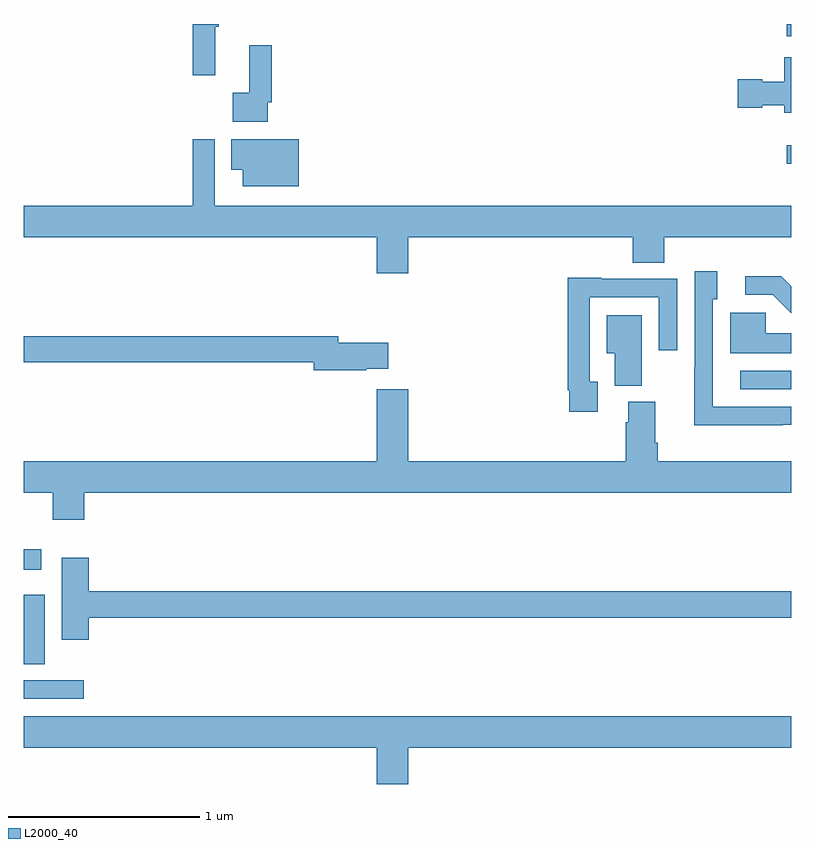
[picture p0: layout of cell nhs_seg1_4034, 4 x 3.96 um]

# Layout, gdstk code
import gdstk
lib = gdstk.Library(unit=1e-6, precision=1e-09)
def R(c, l, rs):  # rectangles x0, y0, x1, y1
    for r in rs: c.add(gdstk.rectangle(r[:2], r[2:], *l))
def P(c, l, *ps):  # polygons
    for p in ps: c.add(gdstk.Polygon(p, *l))
L2000_40 = (2000, 40)

nhs_seg1_4034 = lib.new_cell('nhs_seg1_4034')
R(nhs_seg1_4034, L2000_40, [(331,526.68,331.312,526.776), (331,526.861,331.108,527.224), (331,527.352,331.09,527.461), (334.734,528.294,335,528.39), (334.977,529.47,335,529.567), (334.977,530.136,335,530.199)])
P(nhs_seg1_4034, L2000_40, [(331.997,530.184),(332.015,530.184),(332.015,530.199),(331.879,530.199),(331.879,529.932),(331.997,529.932)],
  [(332.271,529.792),(332.291,529.792),(332.291,530.089),(332.174,530.089),(332.174,529.841),(332.088,529.841),(332.088,529.688),(332.271,529.688)],
  [(335,530.026),(334.964,530.026),(334.964,529.897),(334.851,529.897),(334.851,529.91),(334.722,529.91),(334.722,529.763),(334.851,529.763),(334.851,529.775),(334.964,529.775),(334.964,529.736),(335,529.736)],
  [(332.84,528.9),(333.004,528.9),(333.004,529.088),(334.175,529.088),(334.175,528.955),(334.34,528.955),(334.34,529.088),(335,529.088),(335,529.252),(331.995,529.252),(331.995,529.597),(331.879,529.597),(331.879,529.252),(331,529.252),(331,529.088),(332.84,529.088)],
  [(332.434,529.597),(332.08,529.597),(332.08,529.439),(332.141,529.439),(332.141,529.352),(332.434,529.352)],
  [(334.958,528.108),(335,528.108),(335,528.204),(334.593,528.204),(334.593,528.765),(334.615,528.765),(334.615,528.91),(334.497,528.91),(334.497,528.41),(334.496,528.41),(334.496,528.107),(334.958,528.107)],
  [(335,528.832),(334.948,528.884),(334.761,528.884),(334.761,528.786),(334.905,528.786),(335,528.691)],
  [(333.991,528.333),(333.951,528.333),(333.951,528.774),(334.311,528.774),(334.311,528.498),(334.407,528.498),(334.407,528.87),(334.011,528.87),(334.011,528.877),(333.835,528.877),(333.835,528.289),(333.843,528.289),(333.843,528.177),(333.991,528.177)],
  [(335,528.586),(334.869,528.586),(334.869,528.693),(334.682,528.693),(334.682,528.482),(335,528.482)],
  [(334.222,528.679),(334.04,528.679),(334.04,528.482),(334.082,528.482),(334.082,528.313),(334.222,528.313)],
  [(332.786,528.401),(332.899,528.401),(332.899,528.536),(332.638,528.536),(332.638,528.572),(331,528.572),(331,528.436),(332.51,528.436),(332.51,528.394),(332.786,528.394)],
  [(331.315,527.756),(335,527.756),(335,527.92),(334.304,527.92),(334.304,528.016),(334.291,528.016),(334.291,528.228),(334.151,528.228),(334.151,528.122),(334.139,528.122),(334.139,527.92),(333.004,527.92),(333.004,528.295),(332.84,528.295),(332.84,527.92),(331,527.92),(331,527.756),(331.151,527.756),(331.151,527.613),(331.315,527.613)],
  [(331.337,527.104),(335,527.104),(335,527.24),(331.337,527.24),(331.337,527.416),(331.196,527.416),(331.196,526.989),(331.337,526.989)],
  [(333.004,526.424),(335,526.424),(335,526.588),(331,526.588),(331,526.424),(332.84,526.424),(332.84,526.236),(333.004,526.236)])

lib.write_gds('nhs_seg1_4034.gds')
